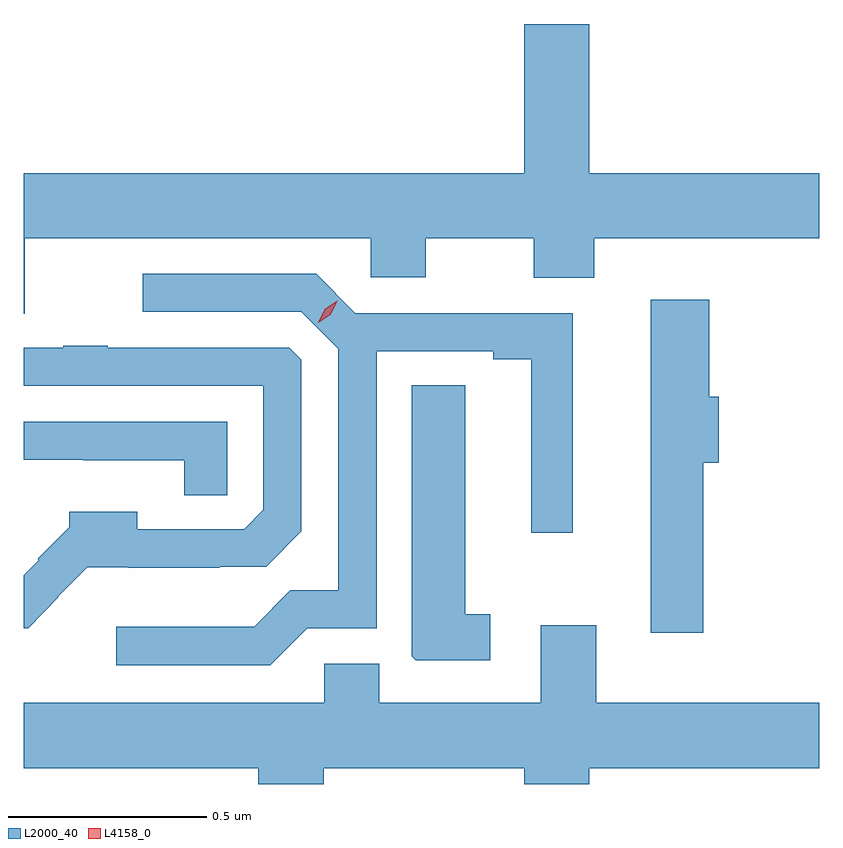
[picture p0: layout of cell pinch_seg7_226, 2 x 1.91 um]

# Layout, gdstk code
import gdstk
lib = gdstk.Library(unit=1e-6, precision=1e-09)
def P(c, l, *ps):  # polygons
    for p in ps: c.add(gdstk.Polygon(p, *l))
L2000_40 = (2000, 40)
L4158_0 = (4158, 0)

pinch_seg7_226 = lib.new_cell('pinch_seg7_226')
P(pinch_seg7_226, L2000_40, [(643.273,1047.236),(644.142,1047.236),(644.142,1047.138),(644.281,1047.138),(644.281,1047.236),(644.552,1047.236),(644.552,1047.137),(644.705,1047.137),(644.705,1047.236),(645.27,1047.236),(645.27,1047.4),(644.692,1047.4),(644.692,1047.775),(644.528,1047.775),(644.528,1047.4),(643.27,1047.4),(643.27,1047.046),(643.273,1047.046)],
  [(643.983,1046.256),(644.157,1046.256),(644.157,1046.952),(644.45,1046.952),(644.45,1046.932),(644.546,1046.932),(644.546,1046.496),(644.65,1046.496),(644.65,1047.048),(644.104,1047.048),(644.005,1047.147),(643.569,1047.147),(643.569,1047.051),(643.968,1047.051),(644.061,1046.958),(644.061,1046.351),(643.94,1046.351),(643.849,1046.26),(643.503,1046.26),(643.503,1046.163),(643.89,1046.163)],
  [(644.978,1046.672),(645.017,1046.672),(645.017,1046.838),(644.993,1046.838),(644.993,1047.082),(644.846,1047.082),(644.846,1046.244),(644.978,1046.244)],
  [(643.357,1046.333),(643.355,1046.335),(643.429,1046.409),(643.531,1046.409),(643.531,1046.408),(643.763,1046.408),(643.763,1046.41),(643.879,1046.41),(643.968,1046.499),(643.968,1046.931),(643.938,1046.961),(643.481,1046.961),(643.481,1046.966),(643.369,1046.966),(643.369,1046.961),(643.27,1046.961),(643.27,1046.865),(643.872,1046.865),(643.872,1046.553),(643.824,1046.505),(643.555,1046.505),(643.555,1046.548),(643.384,1046.548),(643.384,1046.509),(643.305,1046.43),(643.308,1046.427),(643.27,1046.389),(643.27,1046.256),(643.281,1046.256)],
  [(644.443,1046.291),(644.38,1046.291),(644.38,1046.867),(644.246,1046.867),(644.246,1046.185),(644.256,1046.175),(644.443,1046.175)],
  [(643.782,1046.775),(643.27,1046.775),(643.27,1046.679),(643.419,1046.679),(643.419,1046.678),(643.674,1046.678),(643.674,1046.59),(643.782,1046.59)],
  [(644.024,1045.904),(644.528,1045.904),(644.528,1045.864),(644.692,1045.864),(644.692,1045.904),(645.27,1045.904),(645.27,1046.068),(644.71,1046.068),(644.71,1046.263),(644.57,1046.263),(644.57,1046.068),(644.164,1046.068),(644.164,1046.166),(644.025,1046.166),(644.025,1046.068),(643.27,1046.068),(643.27,1045.904),(643.859,1045.904),(643.859,1045.864),(644.024,1045.864)])
P(pinch_seg7_226, L4158_0, [(644.011,1047.024),(644.011,1047.024),(644.027,1047.058),(644.058,1047.079),(644.058,1047.079),(644.058,1047.079),(644.042,1047.045),(644.011,1047.024)])

lib.write_gds('pinch_seg7_226.gds')
